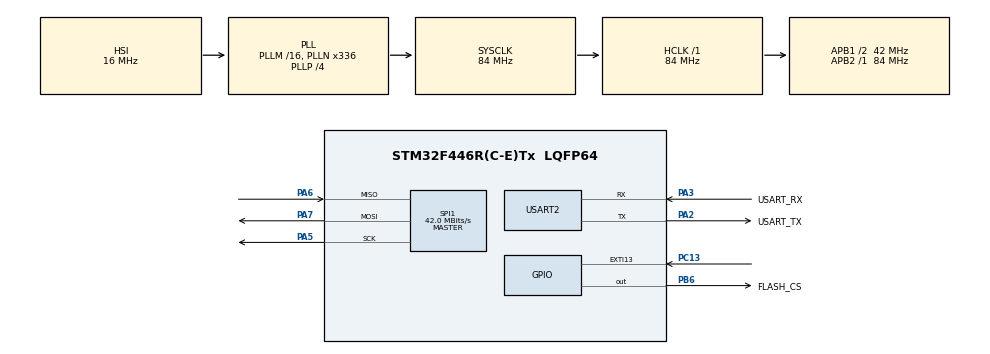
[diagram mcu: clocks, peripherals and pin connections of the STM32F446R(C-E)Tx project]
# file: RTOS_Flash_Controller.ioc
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Mcu.Family=STM32F4
Mcu.Name=STM32F446R(C-E)Tx
Mcu.Package=LQFP64
NUCLEO-F446RE.BUTTON=1
NUCLEO-F446RE.LD1=true
NVIC.EXTI15_10_IRQn=true\:0\:0\:false\:false\:true\:false\:true\:true
NVIC.PriorityGroup=NVIC_PRIORITYGROUP_0
PA13.GPIO_Label=TMS
PA13.Mode=Serial_Wire
PA13.Signal=SYS_JTMS-SWDIO
PA14.GPIO_Label=TCK
PA14.Mode=Serial_Wire
PA14.Signal=SYS_JTCK-SWCLK
PA2.GPIO_Label=USART_TX
PA2.Mode=Asynchronous
PA2.Signal=USART2_TX
PA3.GPIO_Label=USART_RX
PA3.Mode=Asynchronous
PA3.Signal=USART2_RX
PA5.Mode=Full_Duplex_Master
PA5.Signal=SPI1_SCK
PA6.Mode=Full_Duplex_Master
PA6.Signal=SPI1_MISO
PA7.Mode=Full_Duplex_Master
PA7.Signal=SPI1_MOSI
PB3.GPIO_Label=SWO
PB3.Signal=SYS_JTDO-SWO
PB6.GPIO_Label=FLASH_CS
PB6.PinState=GPIO_PIN_SET
PB6.Signal=GPIO_Output
PC13.Signal=GPXTI13
PC14-OSC32_IN.Signal=RCC_OSC32_IN
PC15-OSC32_OUT.Signal=RCC_OSC32_OUT
PH0-OSC_IN.Mode=HSE-External-Clock-Source
PH0-OSC_IN.Signal=RCC_OSC_IN
PH1-OSC_OUT.Mode=HSE-External-Clock-Source
PH1-OSC_OUT.Signal=RCC_OSC_OUT
ProjectManager.HeapSize=0x200
ProjectManager.StackSize=0x400
ProjectManager.TargetToolchain=STM32CubeIDE
RCC.AHBFreq_Value=84000000
RCC.APB1CLKDivider=RCC_HCLK_DIV2
RCC.APB1Freq_Value=42000000
RCC.APB1TimFreq_Value=84000000
RCC.APB2Freq_Value=84000000
RCC.APB2TimFreq_Value=84000000
RCC.CortexFreq_Value=84000000
RCC.FLatency-AdvancedSettings=FLASH_LATENCY_2
RCC.HCLKFreq_Value=84000000
RCC.HSE_VALUE=8000000
RCC.HSI_VALUE=16000000
RCC.LSE_VALUE=32768
RCC.PLLN=336
RCC.PLLP=RCC_PLLP_DIV4
RCC.SYSCLKFreq_VALUE=84000000
RCC.SYSCLKSource=RCC_SYSCLKSOURCE_PLLCLK
RCC.USBFreq_Value=168000000
RCC.VCOOutputFreq_Value=336000000
SPI1.CalculateBaudRate=42.0 MBits/s
SPI1.Direction=SPI_DIRECTION_2LINES
SPI1.Mode=SPI_MODE_MASTER
SPI1.VirtualType=VM_MASTER
USART2.VirtualMode=VM_ASYNC
VP_NUCLEO-F446RE_VS_BSP_COMMON.Mode=COMMON
board=NUCLEO-F446RE

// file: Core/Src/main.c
/* USER CODE BEGIN Header */
/**
  ******************************************************************************
  * @file           : main.c
  * @brief          : Main program body
  ******************************************************************************
  * @attention
  *
  * Copyright (c) 2026 STMicroelectronics.
  * All rights reserved.
  *
  * This software is licensed under terms that can be found in the LICENSE file
  * in the root directory of this software component.
  * If no LICENSE file comes with this software, it is provided AS-IS.
  *
  ******************************************************************************
  */
/* USER CODE END Header */
#include "main.h"

/* USER CODE BEGIN Includes */
#include "flash_storage.h"
#include "w25q64.h"
#include <string.h>
#include <stdio.h>
#include "flash_tests.h"
/* USER CODE END Includes */

/* USER CODE BEGIN PD */
#define UART_RX_BUFFER_SIZE 64U
#define UART_TX_TIMEOUT_MS 1000U
#define UART_RX_TIMEOUT_MS 100U
/* USER CODE END PD */

SPI_HandleTypeDef hspi1;

UART_HandleTypeDef huart2;

/* USER CODE BEGIN PV */
static uint8_t rx_byte;

static char rx_buffer[UART_RX_BUFFER_SIZE];

static uint16_t rx_index = 0;

static uint8_t rx_overflow = 0;

static uint8_t flash_id[3];
static char flash_message[80];
/* USER CODE END PV */

void SystemClock_Config(void);
static void MX_GPIO_Init(void);
static void MX_USART2_UART_Init(void);
static void MX_SPI1_Init(void);

/* USER CODE BEGIN 0 */
static void UART_SendText(const char *text)
{
    if (HAL_UART_Transmit(&huart2,
                          (uint8_t *)text,
                          (uint16_t)strlen(text),
                          UART_TX_TIMEOUT_MS) != HAL_OK)
    {
        Error_Handler();
    }
}

static void UART_ProcessCommand(const char *command)
{
    if (strcmp(command, "PING") == 0)
    {
        UART_SendText("PONG\r\n");
    }
    else if (strcmp(command, "HELP") == 0)
    {
    	UART_SendText("Commands:\r\n");
    	UART_SendText("PING\r\n");
    	UART_SendText("HELP\r\n");
    	UART_SendText("FLASH_TEST_READ\r\n");
    	UART_SendText("FLASH_TEST_WRITE YES (DESTRUCTIVE)\r\n");
    }
    else if (strcmp(command, "FLASH_TEST_WRITE YES") == 0)
    {
        FlashTests_RunWriteErase();
    }
    else if (strcmp(command, "FLASH_TEST_READ") == 0)
    {
        FlashTests_CheckPersistence();
    }
    else
    {
        UART_SendText("RX: ");
        UART_SendText(command);
        UART_SendText("\r\n");
    }
}
/* USER CODE END 0 */

int main(void)
{

  /* MCU Configuration--------------------------------------------------------*/

  /* Reset of all peripherals, Initializes the Flash interface and the Systick. */
  HAL_Init();

  /* Configure the system clock */
  SystemClock_Config();

  /* Initialize all configured peripherals */
  MX_GPIO_Init();
  MX_USART2_UART_Init();
  MX_SPI1_Init();

  /* USER CODE BEGIN 2 */

  UART_SendText("Storage Controller READY\r\n");
  UART_SendText("Type HELP for commands.\r\n");
  /* Run physical flash validation */
  FlashTests_RunAll();
  /* Phase 3.6 - Storage API Test */

  UART_SendText("\r\n--- STORAGE API TEST ---\r\n");

  if (Flash_Init() == FLASH_OK)
  {
      UART_SendText("Storage Init: PASSED\r\n");

      uint8_t buffer[4] = {0};

      if (Flash_Read(W25Q64_TEST_SECTOR_ADDR,
                     buffer,
                     sizeof(buffer)) == FLASH_OK)
      {
          snprintf(flash_message,
                   sizeof(flash_message),
                   "Storage Read: %02X %02X %02X %02X\r\n",
                   buffer[0],
                   buffer[1],
                   buffer[2],
                   buffer[3]);

          UART_SendText(flash_message);
      }
      else
      {
          UART_SendText("Storage Read: FAILED\r\n");
      }
  }
  else
  {
      UART_SendText("Storage Init: FAILED\r\n");
  }

  /* USER CODE END 2 */

  /* Initialize leds */
  //BSP_LED_Init(LED2);

  /* Initialize USER push-button, will be used to trigger an interrupt each time it's pressed.*/
  BSP_PB_Init(BUTTON_USER, BUTTON_MODE_EXTI);

  /* Infinite loop */
  while (1)
  {

    /* USER CODE BEGIN 3 */

      HAL_StatusTypeDef status;

      status = HAL_UART_Receive(&huart2,
                                &rx_byte,
                                1,
                                UART_RX_TIMEOUT_MS);

      if (status == HAL_OK)
      {
          if (rx_byte == '\r' || rx_byte == '\n')
          {
              if (rx_overflow)
              {
                  UART_SendText("ERROR: Input too long\r\n");
              }
              else if (rx_index > 0)
              {
                  rx_buffer[rx_index] = '\0';

                  UART_ProcessCommand(rx_buffer);
              }

              rx_index = 0;
              rx_overflow = 0;
          }
          else if (!rx_overflow)
          {
              if (rx_index < UART_RX_BUFFER_SIZE - 1U)
              {
                  rx_buffer[rx_index++] = (char)rx_byte;
              }
              else
              {
                  rx_overflow = 1;
              }
          }
      }
      else if (status != HAL_TIMEOUT)
      {
          Error_Handler();
      }
  }
  /* USER CODE END 3 */
}

void SystemClock_Config(void)
{
  RCC_OscInitTypeDef RCC_OscInitStruct = {0};
  RCC_ClkInitTypeDef RCC_ClkInitStruct = {0};

  /** Configure the main internal regulator output voltage
  */
  __HAL_RCC_PWR_CLK_ENABLE();
  __HAL_PWR_VOLTAGESCALING_CONFIG(PWR_REGULATOR_VOLTAGE_SCALE3);

  /** Initializes the RCC Oscillators according to the specified parameters
  * in the RCC_OscInitTypeDef structure.
  */
  RCC_OscInitStruct.OscillatorType = RCC_OSCILLATORTYPE_HSI;
  RCC_OscInitStruct.HSIState = RCC_HSI_ON;
  RCC_OscInitStruct.HSICalibrationValue = RCC_HSICALIBRATION_DEFAULT;
  RCC_OscInitStruct.PLL.PLLState = RCC_PLL_ON;
  RCC_OscInitStruct.PLL.PLLSource = RCC_PLLSOURCE_HSI;
  RCC_OscInitStruct.PLL.PLLM = 16;
  RCC_OscInitStruct.PLL.PLLN = 336;
  RCC_OscInitStruct.PLL.PLLP = RCC_PLLP_DIV4;
  RCC_OscInitStruct.PLL.PLLQ = 2;
  RCC_OscInitStruct.PLL.PLLR = 2;
  if (HAL_RCC_OscConfig(&RCC_OscInitStruct) != HAL_OK)
  {
    Error_Handler();
  }

  /** Initializes the CPU, AHB and APB buses clocks
  */
  RCC_ClkInitStruct.ClockType = RCC_CLOCKTYPE_HCLK|RCC_CLOCKTYPE_SYSCLK
                              |RCC_CLOCKTYPE_PCLK1|RCC_CLOCKTYPE_PCLK2;
  RCC_ClkInitStruct.SYSCLKSource = RCC_SYSCLKSOURCE_PLLCLK;
  RCC_ClkInitStruct.AHBCLKDivider = RCC_SYSCLK_DIV1;
  RCC_ClkInitStruct.APB1CLKDivider = RCC_HCLK_DIV2;
  RCC_ClkInitStruct.APB2CLKDivider = RCC_HCLK_DIV1;

  if (HAL_RCC_ClockConfig(&RCC_ClkInitStruct, FLASH_LATENCY_2) != HAL_OK)
  {
    Error_Handler();
  }
}

static void MX_SPI1_Init(void)
{

  /* SPI1 parameter configuration*/
  hspi1.Instance = SPI1;
  hspi1.Init.Mode = SPI_MODE_MASTER;
  hspi1.Init.Direction = SPI_DIRECTION_2LINES;
  hspi1.Init.DataSize = SPI_DATASIZE_8BIT;
  hspi1.Init.CLKPolarity = SPI_POLARITY_LOW;
  hspi1.Init.CLKPhase = SPI_PHASE_1EDGE;
  hspi1.Init.NSS = SPI_NSS_SOFT;
  hspi1.Init.BaudRatePrescaler = SPI_BAUDRATEPRESCALER_2;
  hspi1.Init.FirstBit = SPI_FIRSTBIT_MSB;
  hspi1.Init.TIMode = SPI_TIMODE_DISABLE;
  hspi1.Init.CRCCalculation = SPI_CRCCALCULATION_DISABLE;
  hspi1.Init.CRCPolynomial = 10;
  if (HAL_SPI_Init(&hspi1) != HAL_OK)
  {
    Error_Handler();
  }

}

static void MX_USART2_UART_Init(void)
{

  huart2.Instance = USART2;
  huart2.Init.BaudRate = 115200;
  huart2.Init.WordLength = UART_WORDLENGTH_8B;
  huart2.Init.StopBits = UART_STOPBITS_1;
  huart2.Init.Parity = UART_PARITY_NONE;
  huart2.Init.Mode = UART_MODE_TX_RX;
  huart2.Init.HwFlowCtl = UART_HWCONTROL_NONE;
  huart2.Init.OverSampling = UART_OVERSAMPLING_16;
  if (HAL_UART_Init(&huart2) != HAL_OK)
  {
    Error_Handler();
  }

}

static void MX_GPIO_Init(void)
{
  GPIO_InitTypeDef GPIO_InitStruct = {0};

  /* GPIO Ports Clock Enable */
  __HAL_RCC_GPIOC_CLK_ENABLE();
  __HAL_RCC_GPIOH_CLK_ENABLE();
  __HAL_RCC_GPIOA_CLK_ENABLE();
  __HAL_RCC_GPIOB_CLK_ENABLE();

  /*Configure GPIO pin Output Level */
  HAL_GPIO_WritePin(FLASH_CS_GPIO_Port, FLASH_CS_Pin, GPIO_PIN_SET);

  /*Configure GPIO pin : FLASH_CS_Pin */
  GPIO_InitStruct.Pin = FLASH_CS_Pin;
  GPIO_InitStruct.Mode = GPIO_MODE_OUTPUT_PP;
  GPIO_InitStruct.Pull = GPIO_NOPULL;
  GPIO_InitStruct.Speed = GPIO_SPEED_FREQ_LOW;
  HAL_GPIO_Init(FLASH_CS_GPIO_Port, &GPIO_InitStruct);

}

void Error_Handler(void)
{
  __disable_irq();
  while (1)
  {
  }
}
